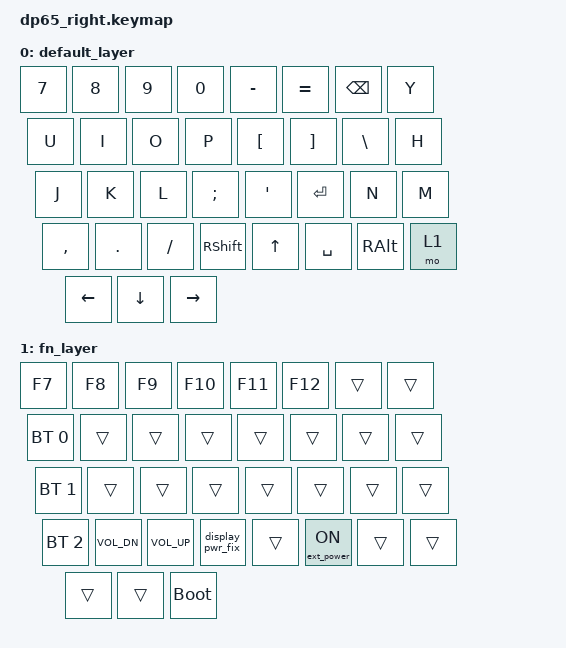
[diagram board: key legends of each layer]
/* TODO: enable BLE split — merge into unified 65-key dp65.keymap when split is enabled */
#include <behaviors.dtsi>
#include <dt-bindings/zmk/keys.h>
#include <dt-bindings/zmk/bt.h>
#include <dt-bindings/zmk/ext_power.h>

/ {
    display_pwr_fix: display_pwr_fix {
        compatible = "zmk,behavior-macro";
        #binding-cells = <0>;
        wait-ms = <500>;
        bindings = <&ext_power EP_OFF &ext_power EP_ON>;
    };

    keymap {
        compatible = "zmk,keymap";

        default_layer {
            bindings = <
                &kp N7    &kp N8    &kp N9    &kp N0    &kp MINUS &kp EQUAL &kp BSPC  &kp Y
                &kp U     &kp I     &kp O     &kp P     &kp LBKT  &kp RBKT  &kp BSLH  &kp H
                &kp J     &kp K     &kp L     &kp SEMI  &kp SQT   &kp RET   &kp N     &kp M
                &kp COMMA &kp DOT   &kp FSLH  &kp RSHFT &kp UP    &kp SPACE &kp RALT  &mo 1
                &kp LEFT  &kp DOWN  &kp RIGHT
            >;
        };

        fn_layer {
            bindings = <
                &kp F7    &kp F8    &kp F9    &kp F10   &kp F11   &kp F12   &trans    &trans
                &bt BT_SEL 0 &trans &trans &trans &trans &trans &trans &trans
                &bt BT_SEL 1 &trans &trans &trans &trans &trans &trans &trans
                &bt BT_SEL 2 &kp C_VOL_DN &kp C_VOL_UP &display_pwr_fix &trans &ext_power EP_ON &trans &trans
                &trans &trans &bootloader
            >;
        };
    };
};
